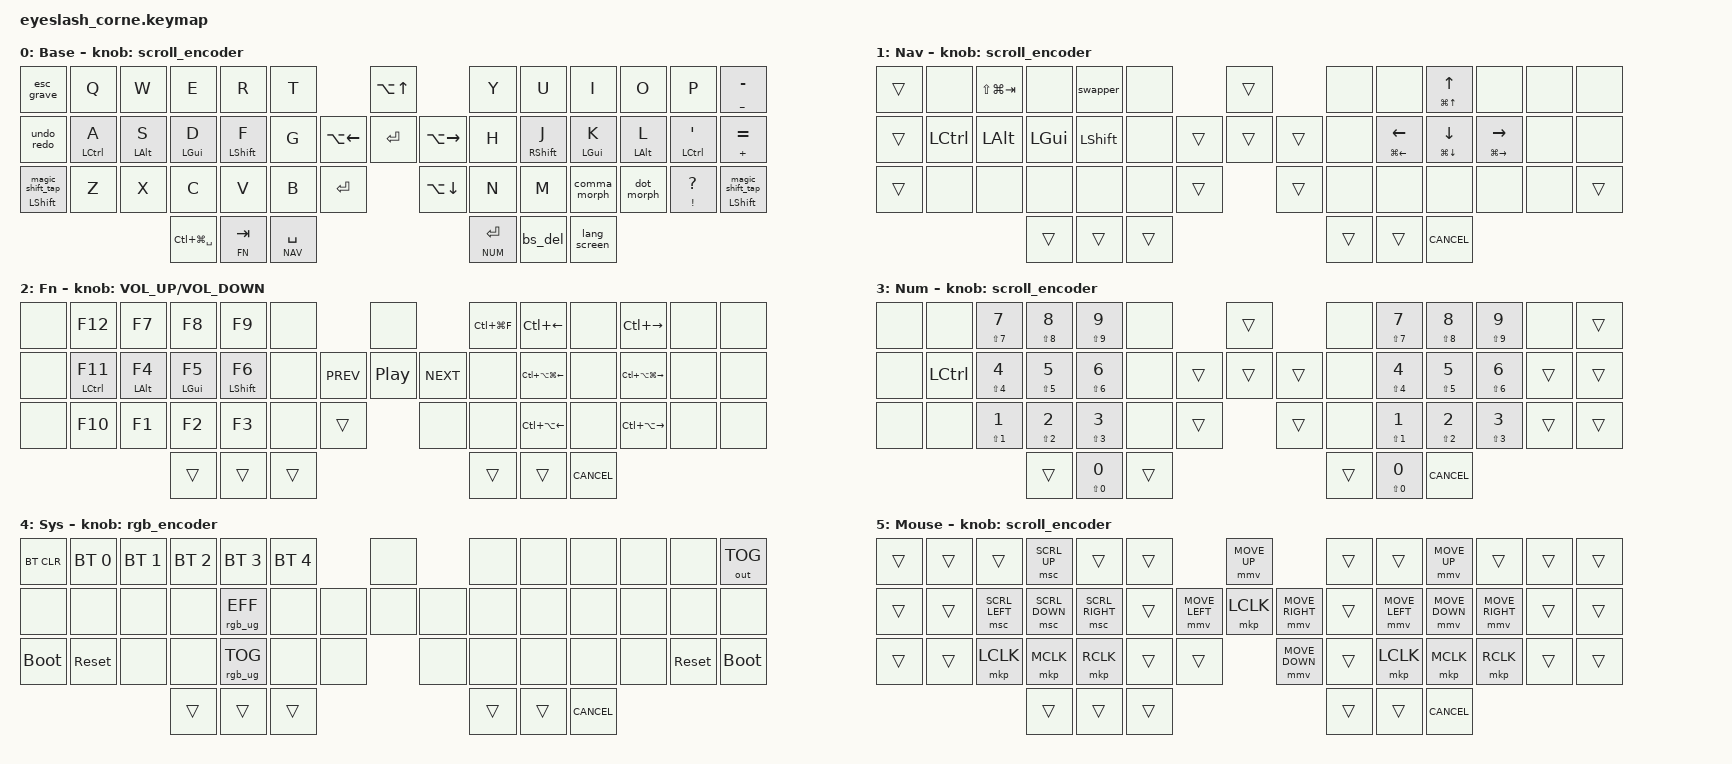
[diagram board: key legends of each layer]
// by dongle
#include <dt-bindings/zmk/ext_power.h>

#include "key-labels/eyelash42.h"

// Key positions per hand
#define KEYS_L LT0 LT1 LT2 LT3 LT4 LT5 LM0 LM1 LM2 LM3 LM4 LM5 LB0 LB1 LB2 LB3 LB4 LB5
#define KEYS_R RT0 RT1 RT2 RT3 RT4 RT5 RM0 RM1 RM2 RM3 RM4 RM5 RB0 RB1 RB2 RB3 RB4 RB5
#define THUMBS LH2 LH1 LH0 RH0 RH1 RH2

#include <behaviors.dtsi>
#include <behaviors/num_word.dtsi> // requires https://github.com/urob/zmk-auto-layer module
#include <dt-bindings/zmk/bt.h>
#include <dt-bindings/zmk/keys.h>
#include <dt-bindings/zmk/outputs.h>
#include <dt-bindings/zmk/rgb.h>

#include "zmk-helpers/helper.h"

#define XXX &none
#define ___ &trans

// layers
#define DEF 0
#define NAV 1
#define FN 2
#define NUM 3
#define SYS 4
#define MOUSE 5

// Behaviors Constants
#define TAPPING_TERM_MS 280
#define QUICK_TAP_MS 175
#define REQUIRE_PRIOR_IDLE_MS 150

// Combos Constants
#define COMBO_TERM_FAST 18
#define COMBO_TERM_SLOW 30

#define COMBO_IDLE_FAST 150
#define COMBO_IDLE_SLOW 50

#include "mouse.dtsi"

// ZMK Behaviors Configuration
&sk {
  release-after-ms = <900>;
  quick-release;
};

&lt {
  flavor = "balanced";
  tapping-term-ms = <200>;
  quick-tap-ms = <QUICK_TAP_MS>;
};

&mt { 
  flavor = "tap-preferred";
  tapping-term-ms = <220>;
  quick-tap-ms = <220>;
  hold-trigger-key-positions = <0>;
};

// From: https://github.com/urob/zmk-config/
// num-word, requires PR https://github.com/zmkfirmware/zmk/pull/1451
// Adds arrows and shift to smart layer for more comfortable navigation/selection moves
&num_word {
  continue-list = <BSPC DEL DOT COMMA PLUS MINUS STAR FSLH EQUAL RSHIFT LEFT RIGHT UP DOWN>;
};

&caps_word { // Mods deactivate caps-word, requires PR #1451. [TODO: rebase]
  /delete-property/ ignore-modifiers;
};

/* Mouse */

&mmv {
  acceleration-exponent = <1>;          // 1
  time-to-max-speed-ms = <500>;         // 300
  delay-ms = <0>;                       // 0
};

&msc {
  acceleration-exponent = <0>;          // 0
  time-to-max-speed-ms = <300>;         // 300
  delay-ms = <0>;                       // 0
};

&mmv_input_listener {
  warp {
    layers = <NAV>;
    input-processors = <&zip_xy_scaler 3 1>;
  };
  precision {
    layers = <FN>;
    input-processors = <&zip_xy_scaler 1 2>;
  };
};

/ {
  zip_scroll_scaler: zip_scroll_scaler {
    compatible = "zmk,input-processor-scaler";
    #input-processor-cells = <2>;
    type = <INPUT_EV_REL>;
    codes = <INPUT_REL_WHEEL INPUT_REL_HWHEEL>;
    track-remainders;
  };
};

&msc_input_listener {
  warp {
    layers = <NAV>;
    input-processors = <&zip_scroll_scaler 2 1>;
  };
  precision {
    layers = <FN>;
    input-processors = <&zip_scroll_scaler 1 2>;
  };
};

/* Copied (modified) from https://github.com/caksoylar/zmk-config */
#define COMBO(NAME, BINDINGS, KEYPOS, LAYERS, TIMEOUT, IDLE) \
combo_##NAME { \
  bindings = <BINDINGS>; \
  key-positions = <KEYPOS>; \
  layers = <LAYERS>; \
  timeout-ms = <TIMEOUT>; \
  require-prior-idle-ms = <IDLE>; \
};


#define U_MS_U &mmv MOVE_UP
#define U_MS_D &mmv MOVE_DOWN
#define U_MS_L &mmv MOVE_LEFT
#define U_MS_R &mmv MOVE_RIGHT
#define U_WH_U &msc SCRL_UP
#define U_WH_D &msc SCRL_DOWN
#define U_WH_L &msc SCRL_LEFT
#define U_WH_R &msc SCRL_RIGHT

#define SMART_NUM &smart_num NUM 0
#define MAGIC_SHIFT &magic_shift LSHFT 0

#define NAV_LEFT  &mt LG(LEFT) LEFT  // Tap: left  | Long-tap: start of line.
#define NAV_RIGHT &mt LG(RIGHT) RIGHT // Tap: right | Long-tap: end   of line.
#define NAV_UP    &mt LG(UP) UP    // Tap: up    | Long-tap: start of doc.
#define NAV_DOWN  &mt LG(DOWN) DOWN  // Tap: down  | Long-tap: end   of doc.
#define NAV_BSPC  &mt LA(BSPC) BSPC  // Tap: bspc  | Long-tap: delete word bwd.
#define NAV_DEL   &mt LA(DEL) DEL   // Tap: del   | Long-tap: delete word fwd.

#define WIN_LEFT  &kp LC(LA(LG(LEFT)))
#define WIN_RIGHT  &kp LC(LA(LG(RIGHT)))
#define FIT_LEFT  &kp LC(LA(LEFT))
#define FIT_RIGHT  &kp LC(LA(RIGHT))
#define SPACE_LEFT  &kp LC(LEFT)
#define SPACE_RIGHT  &kp LC(RIGHT)

#define CANCEL    &kp K_CANCEL            // Cancel caps-word & auto-layers.
#define DSK_PREV  &hmr LCTL LG(LC(LEFT)) // Previous desktop.
#define DSK_NEXT  &hmr LALT LG(LC(RIGHT)) // Next     desktop.
#define PIN_WIN   &kp LG(LC(LS(Q)))       // Pin window across desktops.
#define PIN_APP   &kp LG(LC(LS(A)))       // Pin application across desktops.
#define DSK_MGR   &kp LA(GRAVE)           // Desktop manager.

/ {
    behaviors {
      /omit-if-no-ref/ rgb_encoder: rgb_encoder {
        compatible = "zmk,behavior-sensor-rotate";
        #sensor-binding-cells = <0>;
        bindings = <&rgb_ug RGB_BRI>, <&rgb_ug RGB_BRD>;
      };
  
      /omit-if-no-ref/ scroll_encoder: scroll_encoder {
        compatible = "zmk,behavior-sensor-rotate";
        #sensor-binding-cells = <0>;
        bindings = <&msc SCRL_DOWN>, <&msc SCRL_UP>;

        tap-ms = <100>;
      };

      /*
      Home Row Mods

      - tap: &kp <PARAM_2>
      - hold: &kp <PARAM_1>

      Example: &hml LCMD T
      */
      /omit-if-no-ref/ hml: hrm_left {
        compatible = "zmk,behavior-hold-tap";
        flavor = "balanced";
        #binding-cells = <2>;
        bindings = <&kp>, <&kp>;
        hold-trigger-key-positions = <KEYS_L THUMBS>;
        hold-trigger-on-release;
        tapping-term-ms = <TAPPING_TERM_MS>;
        quick-tap-ms = <QUICK_TAP_MS>;
        require-prior-idle-ms = <REQUIRE_PRIOR_IDLE_MS>;
      };

      /omit-if-no-ref/ hmr: hrm_right {
        compatible = "zmk,behavior-hold-tap";
        flavor = "balanced";
        #binding-cells = <2>;
        bindings = <&kp>, <&kp>;
        hold-trigger-key-positions = <KEYS_L THUMBS>;
        hold-trigger-on-release;
        tapping-term-ms = <TAPPING_TERM_MS>;
        quick-tap-ms = <QUICK_TAP_MS>;
        require-prior-idle-ms = <REQUIRE_PRIOR_IDLE_MS>;
      };

      /*
      - tap: sticky shift
      - double-tap: caps-word (shift + tap mod-morph)
      - hold: shift

      From: https://github.com/urob/zmk-config/
      */
      /omit-if-no-ref/ smart_shift: smart_shift {
        compatible = "zmk,behavior-mod-morph";
        #binding-cells = <0>;
        bindings = <&sk RSHFT>, <&caps_word>;
        mods = <(MOD_RSFT)>;
      };

      /*
      - tap: num-word
      - hold: &mo layer

      From: https://github.com/urob/zmk-config/
      */
      /omit-if-no-ref/ smart_num: smart_num {
        compatible = "zmk,behavior-hold-tap";
        flavor = "balanced";
        #binding-cells = <2>;
        bindings = <&mo>, <&num_dance>;
        tapping-term-ms = <TAPPING_TERM_MS>;
      };
      /*
      - tap: &sl NUM
      - tap x 2: &num_word

      From: https://github.com/urob/zmk-config/
      */
      /omit-if-no-ref/ num_dance: num_dance {
        compatible = "zmk,behavior-tap-dance";
        tapping-term-ms = <TAPPING_TERM_MS>;
        #binding-cells = <0>;
        bindings = <&sl NUM>, <&num_word NUM>;
      };

      // Smart-mouse, requires tri-state module.
      /omit-if-no-ref/ smart_mouse: smart_mouse {
        compatible = "zmk,behavior-tri-state";
        #binding-cells = <0>;
        bindings = <&tog MOUSE>, <&none>, <&tog MOUSE>;
        ignored-key-positions = <LT1 LT2 LH0 LH1 RT1 RT2 RT3 RM0 RM1 RM2 RM3 RM4 RB1 RB2 RB3 RH0 RH1>;
        ignored-layers = <MOUSE NAV FN>;
      };

      // Alt+Tab swapper, requires tri-state module.
      /omit-if-no-ref/ swapper: swapper {
        compatible = "zmk,behavior-tri-state";
        #binding-cells = <0>;
        bindings = <&kt LGUI>, <&kp TAB>, <&kt LGUI>;
        ignored-key-positions = <LT2 RT2 RM1 RM2 RM3>;
      };

      /*
      - tap: reset keyboard
      - hold: enter bootloader mode
      */
      /omit-if-no-ref/ rst_boot: rst_boot {
        compatible = "zmk,behavior-hold-tap";
        flavor = "tap-preferred";
        #binding-cells = <2>;
        bindings = <&bootloader>, <&sys_reset>;
        tapping-term-ms = <500>;
      };

      /* Magic-shift & auto-layers 
      - Tap: repeat after alpha, else sticky-shift |
      - Shift + tap / double-tap: caps-word 
      - Hold: shift.
      */
      /omit-if-no-ref/ shift_repeat: shift_repeat {
        compatible = "zmk,behavior-adaptive-key";
        #binding-cells = <0>;
        bindings = <&sk LSHFT>;
        repeat {
          trigger-keys = <A B C D E F G H I J K L M N O P Q R S T U V W X Y Z>;
          bindings = <&key_repeat>;
          max-prior-idle-ms = <1200>;
          strict-modifiers;
        };
      };
      /omit-if-no-ref/ magic_shift_tap: magic_shift_tap {
        compatible = "zmk,behavior-mod-morph";
        #binding-cells = <0>;
        bindings = <&shift_repeat>, <&caps_word>;
        mods = <(MOD_LSFT)>;
      };
      /omit-if-no-ref/ magic_shift: magic_shift {
        compatible = "zmk,behavior-hold-tap";
        flavor = "balanced"; 
        #binding-cells = <2>;
        bindings = <&kp>, <&magic_shift_tap>;
        tapping-term-ms = <200>;
        quick-tap-ms = <QUICK_TAP_MS>;
      };

      /*
      - tab: space
      - shift + tab: "raycast" > space > sticky shift
      - hold: fn layer
      */
      /omit-if-no-ref/ lt_spc: lt_spc {
        compatible = "zmk,behavior-hold-tap";
        flavor = "balanced"; 
        #binding-cells = <2>;
        bindings = <&mo>, <&spc_morph>;
        tapping-term-ms = <200>;
        quick-tap-ms = <QUICK_TAP_MS>;
      };
      /omit-if-no-ref/ spc_morph: spc_morph {
        compatible = "zmk,behavior-mod-morph";
        #binding-cells = <0>;
        bindings = <&kp SPACE>, <&kp LC(LG(SPACE))>;
        mods = <(MOD_LSFT|MOD_RSFT)>;
      };

      /*
      - tap: backspace
      - shift + tap: delete
      - shift + hold: repeat delete

      From: https://zmk.dev/docs/behaviors/mod-morph#advanced-configuration
      */
      /omit-if-no-ref/ bs_del: bs_del {
        compatible = "zmk,behavior-mod-morph";
        #binding-cells = <0>;
        bindings = <&kp BACKSPACE>, <&kp DELETE>;
        mods = <(MOD_LSFT|MOD_RSFT)>;
      };

      /*
      - tap: esc
      - shift + tap: `
      - command + shift + tap: ~

      From: https://zmk.dev/docs/keymaps/behaviors/mod-morph#mod-morph
      */
      /omit-if-no-ref/ esc_grave: esc_grave {
        compatible = "zmk,behavior-mod-morph";
        #binding-cells = <0>;
        bindings = <&kp ESC>, <&esc_grave_inner_morph>;
        mods = <(MOD_LSFT|MOD_RSFT)>;
      };
      /omit-if-no-ref/ esc_grave_inner_morph: esc_grave_inner_morph {
        compatible = "zmk,behavior-mod-morph";
        #binding-cells = <0>;
        bindings = <&kp GRAVE>, <&kp TILDE>;
        mods = <(MOD_LGUI|MOD_RGUI)>;
      };

      /*
      - tap: comma
      - shift + tap: semicolon
      - command + shift + tap: <

      From: https://zmk.dev/docs/behaviors/mod-morph#advanced-configuration
      */
      /omit-if-no-ref/ comma_morph: comma_morph {
        compatible = "zmk,behavior-mod-morph";
        #binding-cells = <0>;
        bindings = <&kp COMMA>, <&comma_inner_morph>;
        mods = <(MOD_LSFT|MOD_RSFT)>;
      };
      /omit-if-no-ref/ comma_inner_morph: comma_inner_morph {
        compatible = "zmk,behavior-mod-morph";
        #binding-cells = <0>;
        bindings = <&kp SEMICOLON>, <&kp LESS_THAN>;
        mods = <(MOD_LGUI|MOD_RGUI)>;
      };

      /*
      - tap: dot
      - shift + tap: colon
      - command + shift + tap: >

      From: https://zmk.dev/docs/behaviors/mod-morph#advanced-configuration
      */
      /omit-if-no-ref/ dot_morph: dot_morph {
        compatible = "zmk,behavior-mod-morph";
        #binding-cells = <0>;
        bindings = <&kp DOT>, <&dot_inner_morph>;
        mods = <(MOD_LSFT|MOD_RSFT)>;
      };
      /omit-if-no-ref/ dot_inner_morph: dot_inner_morph {
        compatible = "zmk,behavior-mod-morph";
        #binding-cells = <0>;
        bindings = <&kp COLON>, <&kp GREATER_THAN>;
        mods = <(MOD_LGUI|MOD_RGUI)>;
      };

      /*
      - tap: (
      - shift + tap: <
      */
      /omit-if-no-ref/ lpar_lt: lpar_lt {
        compatible = "zmk,behavior-mod-morph";
        #binding-cells = <0>;
        bindings = <&kp LPAR>, <&kp LT>;
        mods = <(MOD_LSFT|MOD_RSFT)>;
      };
      /*
      - tap: )
      - shift + tap: >
      */
      /omit-if-no-ref/ rpar_gt: rpar_gt {
        compatible = "zmk,behavior-mod-morph";
        #binding-cells = <0>;
        bindings = <&kp RPAR>, <&kp GT>;
        mods = <(MOD_LSFT|MOD_RSFT)>;
      };

      
      /*
      - tap: ?
      - shift + tap: !
      */
      /omit-if-no-ref/ qexcl: qexcl {
        compatible = "zmk,behavior-mod-morph";
        #binding-cells = <0>;
        bindings = <&kp QMARK>, <&kp EXCL>;
        mods = <(MOD_LSFT|MOD_RSFT)>;
      };

      /*
        - tab: undo
        - tab x2: redo
      */
      /omit-if-no-ref/ undo_redo: undo_redo {
        compatible = "zmk,behavior-tap-dance";
        tapping-term-ms = <TAPPING_TERM_MS>;
        #binding-cells = <0>;
        bindings = <&kp LG(Z)>, <&kp LS(LG(Z))>;
      };

      /*
        - tab: LANG change
        - tab x2: LGUI + LCTL + LSHIFT + N4
      */
      /omit-if-no-ref/ lang_screen: lang_screen {
        compatible = "zmk,behavior-tap-dance";
        tapping-term-ms = <TAPPING_TERM_MS>;
        #binding-cells = <0>;
        bindings = <&kp LA(LG(SPACE))>, <&kp LS(LC(LG(N4)))>;
      };
    };

    macros {
      /*
        Temporarily switches to a layer (&mo) while a modifier is held. This is
        an implementation of QMK's `LM()` using ZMK's parameterized macros.

        Params:
          1. Layer to switch to
          2. Modifier to press while layer is active

        Example:
          `&lm NUM LSHIFT`
      */
      /omit-if-no-ref/ lm: lm {
        wait-ms = <0>;
        tap-ms = <0>;
        compatible = "zmk,behavior-macro-two-param";
        bindings = <&macro_param_1to1>,
          <&macro_press &mo MACRO_PLACEHOLDER>,
          <&macro_param_2to1>,
          <&macro_press &kp MACRO_PLACEHOLDER>,
          <&macro_pause_for_release>,
          <&macro_param_2to1>,
          <&macro_release &kp MACRO_PLACEHOLDER>,
          <&macro_param_1to1>,
          <&macro_release &mo MACRO_PLACEHOLDER>;
      };

      /*
        Practically identical to &sl, except it triggers a `K_CANCEL` right before to clear
        any active smart layers. This prevents nested/stacked layer activation when needed.

        Params:
          1. Layer to switch to

        Example:
          `&csl NUM`
      */
      /omit-if-no-ref/ csl: clear_sl {
        wait-ms = <0>;
        tap-ms = <0>;
        compatible = "zmk,behavior-macro-one-param";
        bindings = <&macro_tap &kp K_CANCEL>,
          <&macro_param_1to1>,
          <&macro_press &sl MACRO_PLACEHOLDER>,
          <&macro_pause_for_release>,
          <&macro_param_1to1>,
          <&macro_release &sl MACRO_PLACEHOLDER>;
      };

      /*
        Practically identical to &mo, except it triggers a `K_CANCEL` right before to clear
        any active smart layers. This prevents nested/stacked layer activation when needed.
        It's also useful to maintain more consistent expectations when holding a cancel/exit layer
        key from a smart layer.

        Params:
          1. Layer to switch to

        Example:
          `&cmo NUM`
      */
      /omit-if-no-ref/ cmo: clear_mo {
        wait-ms = <0>;
        tap-ms = <0>;
        compatible = "zmk,behavior-macro-one-param";
        bindings = <&macro_tap &kp K_CANCEL>,
          <&macro_param_1to1>,
          <&macro_press &mo MACRO_PLACEHOLDER>,
          <&macro_pause_for_release>,
          <&macro_param_1to1>,
          <&macro_release &mo MACRO_PLACEHOLDER>;
      };

      // Tap: space | Shift + tap: dot -> space -> sticky shift | Hold: nav layer.
      dot_spc: dot_spc {
        compatible = "zmk,behavior-macro";
        #binding-cells = <0>;
        bindings = <&kp DOT &kp SPACE &sk LSHFT>;
        wait-ms = <0>;
        tap-ms = <5>;
      };
    };

    combos {
      compatible = "zmk,combos";

    // KEY POSITIONS
    // ╭──────────────────────────────╮              ╭─────╮      ╭──────────────────────────────╮
    // │ LT5  LT4  LT3  LT2  LT1  LT0 │          ╭───╯ JS0 ╰───╮  │ RT0  RT1  RT2  RT3  RT4  RT5 │
    // │ LM5  LM4  LM3  LM2  LM1  LM0 │ ╭─────╮  │ JS1 JS2 JS3 │  │ RM0  RM1  RM2  RM3  RM4  RM5 │
    // │ LB5  LB4  LB3  LB2  LB1  LB0 │ │ LEC │  ╰───╮ JS4 ╭───╯  │ RB0  RB1  RB2  RB3  RB4  RB5 │
    // ╰──────────────╮ LH2  LH1  LH0 │ ╰─────╯      ╰─────╯      │ RH0  RH1  RH2 ╭──────────────╯
    //                ╰───────────────╯                           ╰───────────────╯
    
      /* Horizontal combos - left hand */
      COMBO(mouse, &smart_mouse,     LT5 LT4,     DEF NAV NUM, COMBO_TERM_FAST, COMBO_IDLE_FAST)

      COMBO(dllr,  &kp DLLR,     LT3 LT2,     DEF        , COMBO_TERM_FAST, COMBO_IDLE_FAST)

      COMBO(cut,   &kp LG(X),    LB3 LB1,     DEF NAV    , COMBO_TERM_FAST, COMBO_IDLE_FAST)
      COMBO(copy,  &kp LG(C),    LB3 LB2,     DEF NAV    , COMBO_TERM_FAST, COMBO_IDLE_FAST)
      COMBO(paste, &kp LG(V),    LB2 LB1,     DEF NAV    , COMBO_TERM_FAST, COMBO_IDLE_FAST)
    
      /* Horizontal combos - right hand */
      COMBO(lbkt,  &kp LBKT,     RT1 RT2,     DEF        , COMBO_TERM_FAST, COMBO_IDLE_FAST)
      COMBO(rbkt,  &kp RBKT,     RT2 RT3,     DEF        , COMBO_TERM_FAST, COMBO_IDLE_FAST)
      COMBO(lpar,  &kp LPAR,     RM1 RM2,     DEF        , COMBO_TERM_FAST, COMBO_IDLE_FAST)
      COMBO(rpar,  &kp RPAR,     RM2 RM3,     DEF        , COMBO_TERM_FAST, COMBO_IDLE_FAST)
      COMBO(lbrc,  &kp LBRC,     RB1 RB2,     DEF        , COMBO_TERM_FAST, COMBO_IDLE_FAST)
      COMBO(rbrc,  &kp RBRC,     RB2 RB3,     DEF        , COMBO_TERM_FAST, COMBO_IDLE_FAST)

      COMBO(bslh,  &kp BSLH,     RT4 RT5,     DEF        , COMBO_TERM_FAST, COMBO_IDLE_FAST)
      COMBO(pipe,  &kp PIPE,     RM4 RM5,     DEF        , COMBO_TERM_FAST, COMBO_IDLE_FAST)
      COMBO(flsh,  &kp SLASH,    RB4 RB5,     DEF        , COMBO_TERM_FAST, COMBO_IDLE_FAST)
    };

    conditional_layers {
      compatible = "zmk,conditional-layers";

      tri_layer_sys {
          if-layers = <NAV NUM>;
          then-layer = <SYS>;
      };
    };

    keymap {
      compatible = "zmk,keymap";

      base_layer {
        display-name = "Base";
        bindings = <
//╭────────────────┬────────────────┬────────────────┬────────────────┬────────────────┬────────────────╮                                       ╭────────────────╮                   ╭────────────────┬────────────────┬────────────────┬────────────────┬────────────────┬────────────────╮
    &esc_grave       &kp Q            &kp W            &kp E            &kp R            &kp T                                                    &kp LA(UP)                           &kp Y            &kp U            &kp I            &kp O            &kp P            &hmr UNDER MINUS
//├────────────────┼────────────────┼────────────────┼────────────────┼────────────────┼────────────────┤                      ╭────────────────┼────────────────┼────────────────╮  ├────────────────┼────────────────┼────────────────┼────────────────┼────────────────┼────────────────┤
    &undo_redo       &hml LCTL A      &hml LALT S      &hml LGUI D      &hml LSHFT F     &kp G                                   &kp LA(LEFT)     &kp RET          &kp LA(RIGHT)       &kp H            &hmr RSHFT J     &hmr LGUI K      &hmr LALT L      &hmr LCTL SQT    &hmr PLUS EQUAL
//├────────────────┼────────────────┼────────────────┼────────────────┼────────────────┼────────────────┤  ╭────────────────╮  ╰────────────────┼────────────────┼────────────────╯  ├────────────────┼────────────────┼────────────────┼────────────────┼────────────────┼────────────────┤
    MAGIC_SHIFT      &kp Z            &kp X            &kp C            &kp V            &kp B               &kp RET                              &kp LA(DOWN)                         &kp N            &kp M            &comma_morph     &dot_morph       &hmr EXCL QMARK  MAGIC_SHIFT
//╰────────────────┼────────────────┼────────────────┴────────────────┼────────────────┼────────────────┤  ╰────────────────╯                   ╰────────────────╯                   ├────────────────┼────────────────┼────────────────┴────────────────┴────────────────┴────────────────╯
                                                       &kp LC(LG(SPACE)) &lt FN TAB      &lt NAV SPACE                                                                                 &lt NUM RET      &bs_del          &lang_screen
//                                                   ╰────────────────┴────────────────┴────────────────╯                                                                            ╰────────────────┴────────────────┴────────────────╯
        >;
        sensor-bindings = <&scroll_encoder>;
      };

      nav_layer {
        display-name = "Nav";
        bindings = <
//╭────────────────┬────────────────┬────────────────┬────────────────┬────────────────┬────────────────╮                                       ╭────────────────╮                   ╭────────────────┬────────────────┬────────────────┬────────────────┬────────────────┬────────────────╮
    ___              XXX              &kp LS(LG(TAB))  XXX              &swapper         XXX                                                      ___                                  XXX              XXX              NAV_UP           XXX              XXX              XXX
//├────────────────┼────────────────┼────────────────┼────────────────┼────────────────┼────────────────┤                      ╭────────────────┼────────────────┼────────────────╮  ├────────────────┼────────────────┼────────────────┼────────────────┼────────────────┼────────────────┤
    ___              &kp LCTL         &kp LALT         &kp LGUI         &kp LSHFT        XXX                                     ___              ___             ___                  XXX              NAV_LEFT         NAV_DOWN         NAV_RIGHT        XXX              XXX
//├────────────────┼────────────────┼────────────────┼────────────────┼────────────────┼────────────────┤  ╭────────────────╮  ╰────────────────┼────────────────┼────────────────╯  ├────────────────┼────────────────┼────────────────┼────────────────┼────────────────┼────────────────┤
    ___              XXX              XXX              XXX              XXX              XXX                 ___                                  ___                                  XXX              XXX              XXX              XXX              XXX              ___
//╰────────────────┼────────────────┼────────────────┴────────────────┼────────────────┼────────────────┤  ╰────────────────╯                   ╰────────────────╯                   ├────────────────┼────────────────┼────────────────┴────────────────┴────────────────┴────────────────╯
                                                       ___              ___              ___                                                                                           ___              ___              CANCEL
//                                                   ╰────────────────┴────────────────┴────────────────╯                                                                            ╰────────────────┴────────────────┴────────────────╯
        >;
        sensor-bindings = <&scroll_encoder>;
      };

      fn_layer {
        display-name = "Fn";
        bindings = <
//╭────────────────┬────────────────┬────────────────┬────────────────┬────────────────┬────────────────╮                                       ╭────────────────╮                   ╭────────────────┬────────────────┬────────────────┬────────────────┬────────────────┬────────────────╮
    XXX              &kp F12          &kp F7           &kp F8           &kp F9           XXX                                                      XXX                                  &kp LC(LG(F))    SPACE_LEFT       XXX              SPACE_RIGHT      XXX              XXX
//├────────────────┼────────────────┼────────────────┼────────────────┼────────────────┼────────────────┤                      ╭────────────────┼────────────────┼────────────────╮  ├────────────────┼────────────────┼────────────────┼────────────────┼────────────────┼────────────────┤
    XXX              &hml LCTL F11   &hml LALT F4     &hml LGUI F5     &hml LSHFT F6    XXX                                     &kp C_PREV        &kp C_PP         &kp C_NEXT          XXX              WIN_LEFT         XXX              WIN_RIGHT        XXX              XXX
//├────────────────┼────────────────┼────────────────┼────────────────┼────────────────┼────────────────┤  ╭────────────────╮  ╰────────────────┼────────────────┼────────────────╯  ├────────────────┼────────────────┼────────────────┼────────────────┼────────────────┼────────────────┤
    XXX              &kp F10          &kp F1           &kp F2           &kp F3           XXX                 ___                                  XXX                                  XXX              FIT_LEFT         XXX              FIT_RIGHT         XXX              XXX
//╰────────────────┼────────────────┼────────────────┴────────────────┼────────────────┼────────────────┤  ╰────────────────╯                   ╰────────────────╯                   ├────────────────┼────────────────┼────────────────┴────────────────┴────────────────┴────────────────╯
                                                       ___              ___              ___                                                                                           ___              ___              CANCEL
//                                                   ╰────────────────┴────────────────┴────────────────╯                                                                            ╰────────────────┴────────────────┴────────────────╯
        >;
        sensor-bindings = <&inc_dec_kp C_VOLUME_UP C_VOLUME_DOWN>;
      };

      num_layer {
        display-name = "Num";
        bindings = <
//╭────────────────┬───────────────┬────────────────┬────────────────┬────────────────┬────────────────╮                                       ╭────────────────╮                   ╭────────────────┬────────────────┬────────────────┬────────────────┬────────────────┬────────────────╮
    XXX              XXX             &hml LS(N7) N7   &hml LS(N8) N8   &hml LS(N9) N9   XXX                                                      ___                                  XXX              &hmr LS(N7) N7   &hmr LS(N8) N8   &hmr LS(N9) N9   XXX              ___
//├────────────────┼───────────────┼────────────────┼────────────────┼────────────────┼────────────────┤                      ╭────────────────┼────────────────┼────────────────╮  ├────────────────┼────────────────┼────────────────┼────────────────┼────────────────┼────────────────┤
    XXX              &kp LCTL        &hml LS(N4) N4   &hml LS(N5) N5   &hml LS(N6) N6   XXX                                     ___              ___              ___                 XXX              &hmr LS(N4) N4   &hmr LS(N5) N5   &hmr LS(N6) N6   ___              ___
//├────────────────┼───────────────┼────────────────┼────────────────┼────────────────┼────────────────┤  ╭────────────────╮  ╰────────────────┼────────────────┼────────────────╯  ├────────────────┼────────────────┼────────────────┼────────────────┼────────────────┼────────────────┤
    XXX              XXX             &hml LS(N1) N1   &hml LS(N2) N2   &hml LS(N3) N3   XXX                ___                                   ___                                  XXX              &hmr LS(N1) N1   &hmr LS(N2) N2   &hmr LS(N3) N3   ___              ___
//╰────────────────┼───────────────┼────────────────┴────────────────┼────────────────┼────────────────┤  ╰────────────────╯                   ╰────────────────╯                   ├────────────────┼────────────────┴────────────────┼────────────────┴────────────────┴────────────────╯
                                                      ___              &hml LS(N0) N0   ___                                                                                           ___              &hmr LS(N0) N0   CANCEL
//                                                  ╰────────────────┴────────────────┴────────────────╯                                                                            ╰────────────────┴────────────────┴────────────────╯
        >;
        sensor-bindings = <&scroll_encoder>;
      };

      sys_layer {
        display-name = "Sys";
        bindings = <
//╭────────────────┬────────────────┬────────────────┬────────────────┬────────────────┬────────────────╮                                       ╭────────────────╮                   ╭────────────────┬────────────────┬────────────────┬────────────────┬────────────────┬────────────────╮
    &bt BT_CLR       &bt BT_SEL 0     &bt BT_SEL 1     &bt BT_SEL 2     &bt BT_SEL 3     &bt BT_SEL 4                                             XXX                                  XXX              XXX              XXX              XXX              XXX              &out OUT_TOG
//├────────────────┼────────────────┼────────────────┼────────────────┼────────────────┼────────────────┤                      ╭────────────────┼────────────────┼────────────────╮  ├────────────────┼────────────────┼────────────────┼────────────────┼────────────────┼────────────────┤
    XXX              XXX              XXX              XXX              &rgb_ug RGB_EFF  XXX                                     XXX              XXX              XXX                 XXX              XXX              XXX              XXX              XXX              XXX
//├────────────────┼────────────────┼────────────────┼────────────────┼────────────────┼────────────────┤  ╭────────────────╮  ╰────────────────┼────────────────┼────────────────╯  ├────────────────┼────────────────┼────────────────┼────────────────┼────────────────┼────────────────┤
    &bootloader      &sys_reset       XXX              XXX              &rgb_ug RGB_TOG  XXX                 XXX                                  XXX                                  XXX              XXX              XXX              XXX              &sys_reset       &bootloader
//╰────────────────┼────────────────┼────────────────┴────────────────┼────────────────┼────────────────┤  ╰────────────────╯                   ╰────────────────╯                   ├────────────────┼────────────────┼────────────────┴────────────────┴────────────────┴────────────────╯
                                                       ___              ___              ___                                                                                           ___              ___              CANCEL
//                                                   ╰────────────────┴────────────────┴────────────────╯                                                                            ╰────────────────┴────────────────┴────────────────╯
        >;
        sensor-bindings = <&rgb_encoder>;
      };

      mouse_layer {
        display-name = "Mouse";
        bindings = <
//╭────────────────┬────────────────┬────────────────┬────────────────┬────────────────┬────────────────╮                                       ╭────────────────╮                   ╭────────────────┬────────────────┬────────────────┬────────────────┬────────────────┬────────────────╮
    ___              ___              ___              U_WH_U           ___              ___                                                      U_MS_U                               ___              ___              U_MS_U           ___              ___              ___
//├────────────────┼────────────────┼────────────────┼────────────────┼────────────────┼────────────────┤                      ╭────────────────┼────────────────┼────────────────╮  ├────────────────┼────────────────┼────────────────┼────────────────┼────────────────┼────────────────┤
    ___              ___              U_WH_L           U_WH_D           U_WH_R           ___                                     U_MS_L           &mkp LCLK        U_MS_R              ___              U_MS_L           U_MS_D           U_MS_R           ___              ___
//├────────────────┼────────────────┼────────────────┼────────────────┼────────────────┼────────────────┤  ╭────────────────╮  ╰────────────────┼────────────────┼────────────────╯  ├────────────────┼────────────────┼────────────────┼────────────────┼────────────────┼────────────────┤
    ___              ___              &mkp LCLK        &mkp MCLK        &mkp RCLK       ___                  ___                                  U_MS_D                               ___              &mkp LCLK        &mkp MCLK        &mkp RCLK        ___              ___
//╰────────────────┼────────────────┼────────────────┴────────────────┼────────────────┼────────────────┤  ╰────────────────╯                   ╰────────────────╯                   ├────────────────┼────────────────┼────────────────┴────────────────┴────────────────┴────────────────╯
                                                       ___              ___              ___                                                                                           ___              ___              CANCEL
//                                                   ╰────────────────┴────────────────┴────────────────╯                                                                            ╰────────────────┴────────────────┴────────────────╯
        >;
        sensor-bindings = <&scroll_encoder>;
      };

    };
  };
